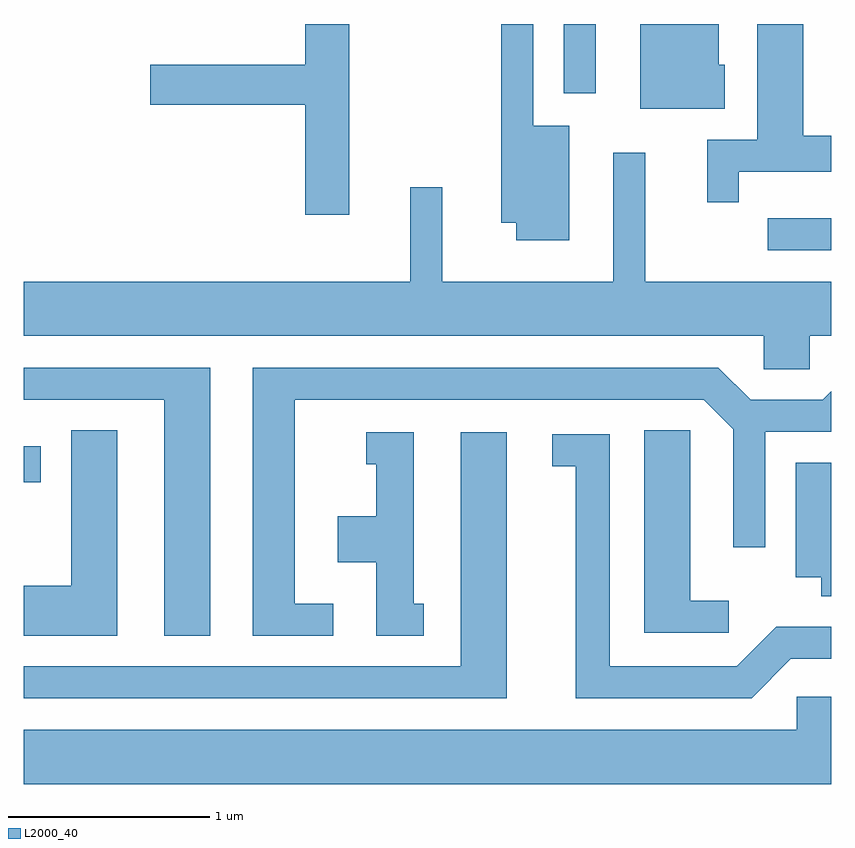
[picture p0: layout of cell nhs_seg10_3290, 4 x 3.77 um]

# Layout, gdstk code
import gdstk
lib = gdstk.Library(unit=1e-6, precision=1e-09)
def R(c, l, rs):  # rectangles x0, y0, x1, y1
    for r in rs: c.add(gdstk.rectangle(r[:2], r[2:], *l))
def P(c, l, *ps):  # polygons
    for p in ps: c.add(gdstk.Polygon(p, *l))
L2000_40 = (2000, 40)

nhs_seg10_3290 = lib.new_cell('nhs_seg10_3290')
R(nhs_seg10_3290, L2000_40, [(281.611,2164.251,281.694,2164.429), (285.298,2165.401,285.611,2165.559), (284.286,2166.178,284.444,2166.522)])
P(nhs_seg10_3290, L2000_40, [(284.314,2166.019),(284.134,2166.019),(284.134,2166.522),(283.976,2166.522),(283.976,2165.536),(284.051,2165.536),(284.051,2165.451),(284.314,2165.451)],
  [(285.084,2166.319),(285.054,2166.319),(285.054,2166.522),(284.666,2166.522),(284.666,2166.101),(285.084,2166.101)],
  [(283.224,2166.522),(283.006,2166.522),(283.006,2166.319),(282.236,2166.319),(282.236,2166.121),(283.006,2166.121),(283.006,2165.576),(283.224,2165.576)],
  [(285.154,2165.791),(285.611,2165.791),(285.611,2165.969),(285.474,2165.969),(285.474,2166.522),(285.246,2166.522),(285.246,2165.949),(284.996,2165.949),(284.996,2165.638),(285.154,2165.638)],
  [(284.531,2165.883),(284.531,2165.244),(283.684,2165.244),(283.684,2165.713),(283.526,2165.713),(283.526,2165.244),(281.611,2165.244),(281.611,2164.976),(285.276,2164.976),(285.276,2164.811),(285.504,2164.811),(285.504,2164.976),(285.611,2164.976),(285.611,2165.244),(284.689,2165.244),(284.689,2165.883)],
  [(283.143,2163.649),(282.954,2163.649),(282.954,2164.661),(284.979,2164.661),(285.126,2164.514),(285.126,2163.928),(285.284,2163.928),(285.284,2164.501),(285.611,2164.501),(285.611,2164.701),(285.569,2164.659),(285.212,2164.659),(285.052,2164.819),(282.746,2164.819),(282.746,2163.491),(283.143,2163.491)],
  [(282.534,2164.819),(281.611,2164.819),(281.611,2164.661),(282.306,2164.661),(282.306,2163.491),(282.534,2163.491)],
  [(285.103,2163.664),(284.914,2163.664),(284.914,2164.509),(284.686,2164.509),(284.686,2163.506),(285.103,2163.506)],
  [(282.074,2164.509),(281.846,2164.509),(281.846,2163.739),(281.611,2163.739),(281.611,2163.491),(282.074,2163.491)],
  [(283.593,2163.649),(283.544,2163.649),(283.544,2164.499),(283.308,2164.499),(283.308,2164.341),(283.356,2164.341),(283.356,2164.084),(283.166,2164.084),(283.166,2163.856),(283.356,2163.856),(283.356,2163.491),(283.593,2163.491)],
  [(284.004,2164.499),(283.776,2164.499),(283.776,2163.339),(281.611,2163.339),(281.611,2163.181),(284.004,2163.181)],
  [(285.412,2163.376),(285.611,2163.376),(285.611,2163.534),(285.339,2163.534),(285.144,2163.339),(284.514,2163.339),(284.514,2164.489),(284.228,2164.489),(284.228,2164.331),(284.346,2164.331),(284.346,2163.181),(285.217,2163.181)],
  [(285.611,2164.349),(285.436,2164.349),(285.436,2163.781),(285.561,2163.781),(285.561,2163.686),(285.611,2163.686)],
  [(285.611,2163.189),(285.441,2163.189),(285.441,2163.024),(281.611,2163.024),(281.611,2162.756),(285.611,2162.756)])

lib.write_gds('nhs_seg10_3290.gds')
